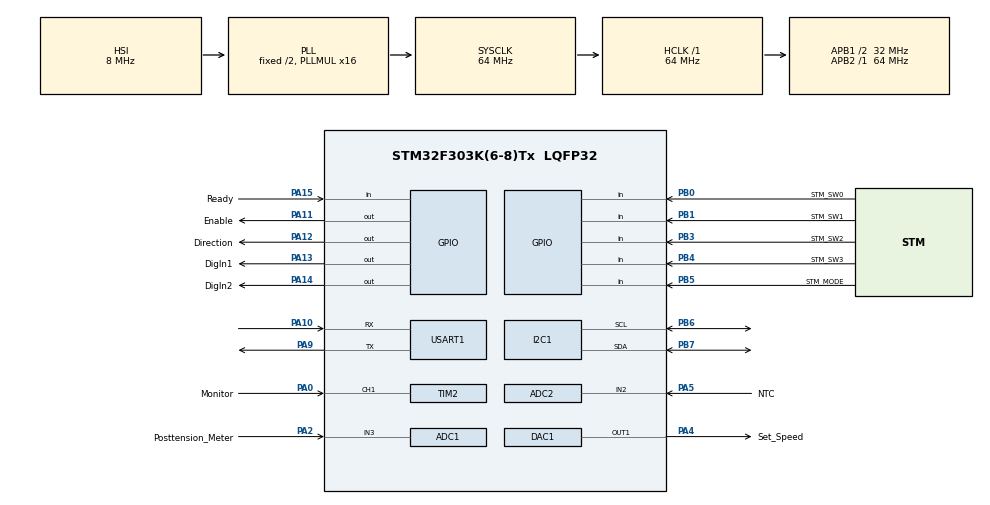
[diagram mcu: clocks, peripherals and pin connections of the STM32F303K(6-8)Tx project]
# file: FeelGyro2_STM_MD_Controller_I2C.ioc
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ADC1.Channel-0\#ChannelRegularConversion=ADC_CHANNEL_3
ADC1.DMAContinuousRequests=ENABLE
ADC1.NbrOfConversionFlag=1
ADC1.Offset-0\#ChannelRegularConversion=0
ADC1.OffsetNumber-0\#ChannelRegularConversion=ADC_OFFSET_NONE
ADC1.Rank-0\#ChannelRegularConversion=1
ADC1.SamplingTime-0\#ChannelRegularConversion=ADC_SAMPLETIME_601CYCLES_5
ADC1.SamplingTimeOPAMP-0\#ChannelRegularConversion=ADC_SAMPLETIME_4CYCLES_5
ADC1.SubFamily=STM32F303x8
ADC1.master=1
ADC2.Channel-1\#ChannelRegularConversion=ADC_CHANNEL_2
ADC2.ContinuousConvMode=DISABLE
ADC2.NbrOfConversionFlag=1
ADC2.Offset-1\#ChannelRegularConversion=0
ADC2.OffsetNumber-1\#ChannelRegularConversion=ADC_OFFSET_NONE
ADC2.Rank-1\#ChannelRegularConversion=1
ADC2.SamplingTime-1\#ChannelRegularConversion=ADC_SAMPLETIME_601CYCLES_5
ADC2.SamplingTimeOPAMP-1\#ChannelRegularConversion=ADC_SAMPLETIME_4CYCLES_5
ADC2.SubFamily=STM32F303x8
Dma.ADC1.0.Direction=DMA_PERIPH_TO_MEMORY
Dma.ADC1.0.Instance=DMA1_Channel1
Dma.ADC1.0.MemDataAlignment=DMA_MDATAALIGN_HALFWORD
Dma.ADC1.0.MemInc=DMA_MINC_ENABLE
Dma.ADC1.0.Mode=DMA_NORMAL
Dma.ADC1.0.PeriphDataAlignment=DMA_PDATAALIGN_HALFWORD
Dma.ADC1.0.PeriphInc=DMA_PINC_DISABLE
Dma.ADC1.0.Priority=DMA_PRIORITY_LOW
Dma.ADC2.5.Direction=DMA_PERIPH_TO_MEMORY
Dma.ADC2.5.Instance=DMA1_Channel2
Dma.ADC2.5.MemDataAlignment=DMA_MDATAALIGN_HALFWORD
Dma.ADC2.5.MemInc=DMA_MINC_ENABLE
Dma.ADC2.5.Mode=DMA_NORMAL
Dma.ADC2.5.PeriphDataAlignment=DMA_PDATAALIGN_HALFWORD
Dma.ADC2.5.PeriphInc=DMA_PINC_DISABLE
Dma.ADC2.5.Priority=DMA_PRIORITY_LOW
Dma.I2C1_RX.1.Direction=DMA_PERIPH_TO_MEMORY
Dma.I2C1_RX.1.Instance=DMA1_Channel3
Dma.I2C1_RX.1.MemDataAlignment=DMA_MDATAALIGN_BYTE
Dma.I2C1_RX.1.MemInc=DMA_MINC_ENABLE
Dma.I2C1_RX.1.Mode=DMA_NORMAL
Dma.I2C1_RX.1.PeriphDataAlignment=DMA_PDATAALIGN_BYTE
Dma.I2C1_RX.1.PeriphInc=DMA_PINC_DISABLE
Dma.I2C1_RX.1.Priority=DMA_PRIORITY_LOW
Dma.I2C1_TX.2.Direction=DMA_MEMORY_TO_PERIPH
Dma.I2C1_TX.2.Instance=DMA1_Channel6
Dma.I2C1_TX.2.MemDataAlignment=DMA_MDATAALIGN_BYTE
Dma.I2C1_TX.2.MemInc=DMA_MINC_ENABLE
Dma.I2C1_TX.2.Mode=DMA_NORMAL
Dma.I2C1_TX.2.PeriphDataAlignment=DMA_PDATAALIGN_BYTE
Dma.I2C1_TX.2.PeriphInc=DMA_PINC_DISABLE
Dma.I2C1_TX.2.Priority=DMA_PRIORITY_LOW
Dma.Request0=ADC1
Dma.Request1=I2C1_RX
Dma.Request2=I2C1_TX
Dma.Request3=USART1_RX
Dma.Request4=USART1_TX
Dma.Request5=ADC2
Dma.USART1_RX.3.Direction=DMA_PERIPH_TO_MEMORY
Dma.USART1_RX.3.Instance=DMA1_Channel5
Dma.USART1_RX.3.MemDataAlignment=DMA_MDATAALIGN_BYTE
Dma.USART1_RX.3.MemInc=DMA_MINC_ENABLE
Dma.USART1_RX.3.Mode=DMA_NORMAL
Dma.USART1_RX.3.PeriphDataAlignment=DMA_PDATAALIGN_BYTE
Dma.USART1_RX.3.PeriphInc=DMA_PINC_DISABLE
Dma.USART1_RX.3.Priority=DMA_PRIORITY_LOW
Dma.USART1_TX.4.Direction=DMA_MEMORY_TO_PERIPH
Dma.USART1_TX.4.Instance=DMA1_Channel4
Dma.USART1_TX.4.MemDataAlignment=DMA_MDATAALIGN_BYTE
Dma.USART1_TX.4.MemInc=DMA_MINC_ENABLE
Dma.USART1_TX.4.Mode=DMA_NORMAL
Dma.USART1_TX.4.PeriphDataAlignment=DMA_PDATAALIGN_BYTE
Dma.USART1_TX.4.PeriphInc=DMA_PINC_DISABLE
Dma.USART1_TX.4.Priority=DMA_PRIORITY_LOW
I2C1.OwnAddress=0x52
I2C1.Timing=0x00201D2B
Mcu.Family=STM32F3
Mcu.Name=STM32F303K(6-8)Tx
Mcu.Package=LQFP32
NVIC.DMA1_Channel1_IRQn=true\:0\:0\:false\:false\:true\:false\:true\:true
NVIC.DMA1_Channel2_IRQn=true\:0\:0\:false\:false\:true\:false\:true\:true
NVIC.DMA1_Channel3_IRQn=true\:0\:0\:false\:false\:true\:false\:true\:true
NVIC.DMA1_Channel4_IRQn=true\:0\:0\:false\:false\:true\:false\:true\:true
NVIC.DMA1_Channel5_IRQn=true\:0\:0\:false\:false\:true\:false\:true\:true
NVIC.DMA1_Channel6_IRQn=true\:0\:0\:false\:false\:true\:false\:true\:true
NVIC.PriorityGroup=NVIC_PRIORITYGROUP_4
PA0.GPIO_Label=Monitor
PA0.Signal=S_TIM2_CH1_ETR
PA10.Mode=Asynchronous
PA10.Signal=USART1_RX
PA11.GPIO_Label=Enable
PA11.Signal=GPIO_Output
PA12.GPIO_Label=Direction
PA12.Signal=GPIO_Output
PA13.GPIO_Label=DigIn1
PA13.Signal=GPIO_Output
PA14.GPIO_Label=DigIn2
PA14.Signal=GPIO_Output
PA15.GPIO_Label=Ready
PA15.Signal=GPIO_Input
PA2.GPIO_Label=Posttension_Meter
PA2.Mode=IN3-Single-Ended
PA2.Signal=ADC1_IN3
PA4.GPIO_Label=Set_Speed
PA4.Signal=COMP_DAC11_group
PA5.GPIO_Label=NTC
PA5.Mode=IN2-Single-Ended
PA5.Signal=ADC2_IN2
PA9.Mode=Asynchronous
PA9.Signal=USART1_TX
PB0.GPIO_Label=STM_SW0
PB0.GPIO_PuPd=GPIO_PULLUP
PB0.Signal=GPIO_Input
PB1.GPIO_Label=STM_SW1
PB1.GPIO_PuPd=GPIO_PULLUP
PB1.Signal=GPIO_Input
PB3.GPIO_Label=STM_SW2
PB3.GPIO_PuPd=GPIO_PULLUP
PB3.Signal=GPIO_Input
PB4.GPIO_Label=STM_SW3
PB4.GPIO_PuPd=GPIO_PULLUP
PB4.Signal=GPIO_Input
PB5.GPIO_Label=STM_MODE
PB5.GPIO_PuPd=GPIO_PULLUP
PB5.Signal=GPIO_Input
PB6.GPIO_Pu=GPIO_NOPULL
PB6.Mode=I2C
PB6.Signal=I2C1_SCL
PB7.GPIO_Pu=GPIO_NOPULL
PB7.Mode=I2C
PB7.Signal=I2C1_SDA
ProjectManager.HeapSize=0x200
ProjectManager.StackSize=0x400
ProjectManager.TargetToolchain=STM32CubeIDE
RCC.AHBFreq_Value=64000000
RCC.APB1CLKDivider=RCC_HCLK_DIV2
RCC.APB1Freq_Value=32000000
RCC.APB1TimFreq_Value=64000000
RCC.APB2Freq_Value=64000000
RCC.APB2TimFreq_Value=64000000
RCC.CortexFreq_Value=64000000
RCC.HCLKFreq_Value=64000000
RCC.HSE_VALUE=8000000
RCC.HSI_VALUE=8000000
RCC.PLLMUL=RCC_PLL_MUL16
RCC.SYSCLKFreq_VALUE=64000000
RCC.SYSCLKSourceVirtual=RCC_SYSCLKSOURCE_PLLCLK
SH.COMP_DAC11_group.0=DAC1_OUT1,DAC_OUT1
SH.S_TIM2_CH1_ETR.0=TIM2_CH1,PWM_Input_1
USART1.VirtualMode-Asynchronous=VM_ASYNC
board=custom

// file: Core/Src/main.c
/* USER CODE BEGIN Header */
/**
  ******************************************************************************
  * @file           : main.c
  * @brief          : Main program body
  ******************************************************************************
  * @attention
  *
  * Copyright (c) 2025 STMicroelectronics.
  * All rights reserved.
  *
  * This software is licensed under terms that can be found in the LICENSE file
  * in the root directory of this software component.
  * If no LICENSE file comes with this software, it is provided AS-IS.
  *
  ******************************************************************************
  */
/* USER CODE END Header */
#include "main.h"

/* USER CODE BEGIN Includes */
#include <stdio.h>
#include <math.h>
#include <string.h>
/* USER CODE END Includes */

/* USER CODE BEGIN PD */
#define MAX_DUTY 1.0f

/*---- NTC ----*/
#define ADC_MAX     4095.0f
#define VCC         3.3f
#define R_PULLUP    10000.0f      // プルアップ抵抗 10kΩ
#define R0_NTC      5000.0f       // 25°C時のNTC抵抗
#define BETA        3490.0f
#define T0_K        298.15f       // 25°C = 298.15K
/* USER CODE END PD */

ADC_HandleTypeDef hadc1;
ADC_HandleTypeDef hadc2;
DMA_HandleTypeDef hdma_adc1;
DMA_HandleTypeDef hdma_adc2;

DAC_HandleTypeDef hdac1;

I2C_HandleTypeDef hi2c1;
DMA_HandleTypeDef hdma_i2c1_rx;
DMA_HandleTypeDef hdma_i2c1_tx;

TIM_HandleTypeDef htim2;

UART_HandleTypeDef huart1;
DMA_HandleTypeDef hdma_usart1_rx;
DMA_HandleTypeDef hdma_usart1_tx;

/* USER CODE BEGIN PV */
uint8_t state = 0;
uint8_t txBuf[5];
uint8_t prevState = 0xFF;
GPIO_PinState enableVal = GPIO_PIN_RESET;
uint32_t MAX_SPEED = (uint32_t)(MAX_DUTY * 4095);

char     uart_data[64];
uint32_t uart_size;

static int decelStep = -1;        // -1: 減速中ではない、0～steps: 減速ステップ
const int steps     = 1000;       // 全ステップ数

int temp_c_int;
/* USER CODE END PV */

void SystemClock_Config(void);
static void MX_GPIO_Init(void);
static void MX_DMA_Init(void);
static void MX_I2C1_Init(void);
static void MX_ADC1_Init(void);
static void MX_ADC2_Init(void);
static void MX_DAC1_Init(void);
static void MX_TIM2_Init(void);
static void MX_USART1_UART_Init(void);

/* USER CODE BEGIN 0 */
float calc_temperature_from_adc(uint16_t adc_val){
    float v_ntc = (adc_val / ADC_MAX) * VCC;
    float r_ntc = (v_ntc * R_PULLUP) / (VCC - v_ntc);  // 分圧式からNTC抵抗を逆算

    float ln_ratio = logf(r_ntc / R0_NTC);
    float inv_temp = (1.0f / T0_K) + (ln_ratio / BETA);
    float temp_K = 1.0f / inv_temp;

    return temp_K - 273.15f;  // 摂氏に変換
}

void read_and_print_temperature(void){
    uint16_t adc_val = 0;

    HAL_ADC_Start(&hadc2);
    if (HAL_ADC_PollForConversion(&hadc2, HAL_MAX_DELAY) == HAL_OK) {
        adc_val = HAL_ADC_GetValue(&hadc2);
    }
    HAL_ADC_Stop(&hadc2);

    float temp_c = calc_temperature_from_adc(adc_val);
    temp_c_int = (int)(temp_c + 0.5f - 1.0f);  // 四捨五入して整数化　補正で1度引く

	uart_size = sprintf(uart_data, "Temperature: %d °C (ADC=%d)\r\n", temp_c_int, adc_val);
	HAL_UART_Transmit(&huart1, (uint8_t*)uart_data, uart_size, 10);
}
/* USER CODE END 0 */

int main(void)
{

  /* USER CODE BEGIN 1 */
	uint8_t dip_sw = 0;

	uint32_t frequency;
	uint32_t rpm;
	uint32_t tim2_count;
	uint32_t speed = MAX_SPEED;

	const int steps = 1000;
  /* USER CODE END 1 */

  /* MCU Configuration--------------------------------------------------------*/

  /* Reset of all peripherals, Initializes the Flash interface and the Systick. */
  HAL_Init();

  /* Configure the system clock */
  SystemClock_Config();

  /* Initialize all configured peripherals */
  MX_GPIO_Init();
  MX_DMA_Init();
  MX_I2C1_Init();
  MX_ADC1_Init();
  MX_ADC2_Init();
  MX_DAC1_Init();
  MX_TIM2_Init();
  MX_USART1_UART_Init();
  /* USER CODE BEGIN 2 */
  HAL_DAC_Start(&hdac1, DAC1_CHANNEL_1);
  HAL_ADC_Start(&hadc2);
  HAL_TIM_IC_Start(&htim2, TIM_CHANNEL_1);
  HAL_TIM_IC_Start(&htim2, TIM_CHANNEL_2);

  HAL_GPIO_WritePin(Enable_GPIO_Port, Enable_Pin, GPIO_PIN_RESET);
  HAL_GPIO_WritePin(DigIn1_GPIO_Port, DigIn1_Pin, GPIO_PIN_RESET );
  HAL_GPIO_WritePin(DigIn2_GPIO_Port, DigIn2_Pin, GPIO_PIN_RESET );

  dip_sw = HAL_GPIO_ReadPin(STM_SW3_GPIO_Port, STM_SW3_Pin) << 3 |
		   HAL_GPIO_ReadPin(STM_SW2_GPIO_Port, STM_SW2_Pin) << 2 |
		   HAL_GPIO_ReadPin(STM_SW1_GPIO_Port, STM_SW1_Pin) << 1 |
		   HAL_GPIO_ReadPin(STM_SW0_GPIO_Port, STM_SW0_Pin) << 0 ;

  if((dip_sw & 0x02) != HAL_OK){
	  HAL_GPIO_WritePin(Direction_GPIO_Port	, Direction_Pin	, GPIO_PIN_SET);
  }else{
	  HAL_GPIO_WritePin(Direction_GPIO_Port	, Direction_Pin	, GPIO_PIN_RESET);
  }

  setbuf(stdout, NULL);
  printf("I2C Slave Debug @0x55\n");
  /* USER CODE END 2 */

  /* Infinite loop */
  /* USER CODE BEGIN WHILE */
  while (1)
  {
	read_and_print_temperature();
	//１バイト受信
	HAL_I2C_Slave_Receive(&hi2c1, &state, 1, HAL_MAX_DELAY);
	//UART に受信状態を表示
	//uart_size = sprintf(uart_data, "Got state=%u\r\n", state);
	//HAL_UART_Transmit(&huart1, (uint8_t*)uart_data, uart_size, 10);

	//ControlState が変わったらデセル開始 or 即時処理 ---
	if (state != prevState) {
		if (state == 2 && prevState == 1) {
			// “全開→ブレーキ” になった瞬間だけ減速ステップを開始
			decelStep = 0;
		}
		else if (state == 1) {
			// 全開
			speed     = MAX_SPEED;
			enableVal = GPIO_PIN_SET;
			decelStep = -1;     // 減速モード解除
		}
		else if (state == 0) {
			// 停止
			speed     = MAX_SPEED;
			enableVal = GPIO_PIN_RESET;
			decelStep = -1;
		}
		else {
			// その他
			speed     = MAX_SPEED;
			enableVal = GPIO_PIN_RESET;
			decelStep = -1;
		}
		prevState = state;
	}

    //デセル中なら、１ステップだけ減速処理を実行 ---
    if (decelStep >= 0) {
        float x = (float)decelStep / steps;               // 0.0～1.0
        float y = powf(100.0f, -x) * 0.6f;                // 減速曲線
        speed  = (uint32_t)(y * MAX_SPEED);
        decelStep++;
        if (decelStep > steps) {
            // デセル完了
            decelStep = -1;
            speed     = 0;
            enableVal = GPIO_PIN_RESET;
        }
    }

    //DAC と Enable ピンに出力 ---
	HAL_DAC_SetValue(&hdac1, DAC1_CHANNEL_1, DAC_ALIGN_12B_R, speed);
	HAL_GPIO_WritePin(Enable_GPIO_Port, Enable_Pin, enableVal);

    //RPM 計算 ---
	tim2_count = __HAL_TIM_GET_COMPARE(&htim2,TIM_CHANNEL_1);
	frequency = 64000000 / tim2_count;
	rpm = frequency * 20 / 8;

	//RPM を 4 バイトに分解して I2C 送信 ---
	txBuf[0] =  rpm        & 0xFF;
	txBuf[1] = (rpm >>  8) & 0xFF;
	txBuf[2] = (rpm >> 16) & 0xFF;
	txBuf[3] = (rpm >> 24) & 0xFF;
	txBuf[4] = (uint8_t)temp_c_int;
	HAL_I2C_Slave_Transmit(&hi2c1, txBuf, 5, HAL_MAX_DELAY);

	HAL_Delay(30);
    /* USER CODE END WHILE */

  }
}

void SystemClock_Config(void)
{
  RCC_OscInitTypeDef RCC_OscInitStruct = {0};
  RCC_ClkInitTypeDef RCC_ClkInitStruct = {0};
  RCC_PeriphCLKInitTypeDef PeriphClkInit = {0};

  /** Initializes the RCC Oscillators according to the specified parameters
  * in the RCC_OscInitTypeDef structure.
  */
  RCC_OscInitStruct.OscillatorType = RCC_OSCILLATORTYPE_HSI;
  RCC_OscInitStruct.HSIState = RCC_HSI_ON;
  RCC_OscInitStruct.HSICalibrationValue = RCC_HSICALIBRATION_DEFAULT;
  RCC_OscInitStruct.PLL.PLLState = RCC_PLL_ON;
  RCC_OscInitStruct.PLL.PLLSource = RCC_PLLSOURCE_HSI;
  RCC_OscInitStruct.PLL.PLLMUL = RCC_PLL_MUL16;
  if (HAL_RCC_OscConfig(&RCC_OscInitStruct) != HAL_OK)
  {
    Error_Handler();
  }

  /** Initializes the CPU, AHB and APB buses clocks
  */
  RCC_ClkInitStruct.ClockType = RCC_CLOCKTYPE_HCLK|RCC_CLOCKTYPE_SYSCLK
                              |RCC_CLOCKTYPE_PCLK1|RCC_CLOCKTYPE_PCLK2;
  RCC_ClkInitStruct.SYSCLKSource = RCC_SYSCLKSOURCE_PLLCLK;
  RCC_ClkInitStruct.AHBCLKDivider = RCC_SYSCLK_DIV1;
  RCC_ClkInitStruct.APB1CLKDivider = RCC_HCLK_DIV2;
  RCC_ClkInitStruct.APB2CLKDivider = RCC_HCLK_DIV1;

  if (HAL_RCC_ClockConfig(&RCC_ClkInitStruct, FLASH_LATENCY_2) != HAL_OK)
  {
    Error_Handler();
  }
  PeriphClkInit.PeriphClockSelection = RCC_PERIPHCLK_USART1|RCC_PERIPHCLK_I2C1
                              |RCC_PERIPHCLK_ADC12;
  PeriphClkInit.Usart1ClockSelection = RCC_USART1CLKSOURCE_PCLK1;
  PeriphClkInit.Adc12ClockSelection = RCC_ADC12PLLCLK_DIV1;
  PeriphClkInit.I2c1ClockSelection = RCC_I2C1CLKSOURCE_HSI;
  if (HAL_RCCEx_PeriphCLKConfig(&PeriphClkInit) != HAL_OK)
  {
    Error_Handler();
  }
}

static void MX_ADC1_Init(void)
{

  ADC_MultiModeTypeDef multimode = {0};
  ADC_ChannelConfTypeDef sConfig = {0};

  /** Common config
  */
  hadc1.Instance = ADC1;
  hadc1.Init.ClockPrescaler = ADC_CLOCK_ASYNC_DIV1;
  hadc1.Init.Resolution = ADC_RESOLUTION_12B;
  hadc1.Init.ScanConvMode = ADC_SCAN_DISABLE;
  hadc1.Init.ContinuousConvMode = DISABLE;
  hadc1.Init.DiscontinuousConvMode = DISABLE;
  hadc1.Init.ExternalTrigConvEdge = ADC_EXTERNALTRIGCONVEDGE_NONE;
  hadc1.Init.ExternalTrigConv = ADC_SOFTWARE_START;
  hadc1.Init.DataAlign = ADC_DATAALIGN_RIGHT;
  hadc1.Init.NbrOfConversion = 1;
  hadc1.Init.DMAContinuousRequests = ENABLE;
  hadc1.Init.EOCSelection = ADC_EOC_SINGLE_CONV;
  hadc1.Init.LowPowerAutoWait = DISABLE;
  hadc1.Init.Overrun = ADC_OVR_DATA_OVERWRITTEN;
  if (HAL_ADC_Init(&hadc1) != HAL_OK)
  {
    Error_Handler();
  }

  /** Configure the ADC multi-mode
  */
  multimode.Mode = ADC_MODE_INDEPENDENT;
  if (HAL_ADCEx_MultiModeConfigChannel(&hadc1, &multimode) != HAL_OK)
  {
    Error_Handler();
  }

  /** Configure Regular Channel
  */
  sConfig.Channel = ADC_CHANNEL_3;
  sConfig.Rank = ADC_REGULAR_RANK_1;
  sConfig.SingleDiff = ADC_SINGLE_ENDED;
  sConfig.SamplingTime = ADC_SAMPLETIME_601CYCLES_5;
  sConfig.OffsetNumber = ADC_OFFSET_NONE;
  sConfig.Offset = 0;
  if (HAL_ADC_ConfigChannel(&hadc1, &sConfig) != HAL_OK)
  {
    Error_Handler();
  }

}

static void MX_ADC2_Init(void)
{

  ADC_ChannelConfTypeDef sConfig = {0};

  /** Common config
  */
  hadc2.Instance = ADC2;
  hadc2.Init.ClockPrescaler = ADC_CLOCK_ASYNC_DIV1;
  hadc2.Init.Resolution = ADC_RESOLUTION_12B;
  hadc2.Init.ScanConvMode = ADC_SCAN_DISABLE;
  hadc2.Init.ContinuousConvMode = DISABLE;
  hadc2.Init.DiscontinuousConvMode = DISABLE;
  hadc2.Init.ExternalTrigConvEdge = ADC_EXTERNALTRIGCONVEDGE_NONE;
  hadc2.Init.ExternalTrigConv = ADC_SOFTWARE_START;
  hadc2.Init.DataAlign = ADC_DATAALIGN_RIGHT;
  hadc2.Init.NbrOfConversion = 1;
  hadc2.Init.DMAContinuousRequests = DISABLE;
  hadc2.Init.EOCSelection = ADC_EOC_SINGLE_CONV;
  hadc2.Init.LowPowerAutoWait = DISABLE;
  hadc2.Init.Overrun = ADC_OVR_DATA_OVERWRITTEN;
  if (HAL_ADC_Init(&hadc2) != HAL_OK)
  {
    Error_Handler();
  }

  /** Configure Regular Channel
  */
  sConfig.Channel = ADC_CHANNEL_2;
  sConfig.Rank = ADC_REGULAR_RANK_1;
  sConfig.SingleDiff = ADC_SINGLE_ENDED;
  sConfig.SamplingTime = ADC_SAMPLETIME_601CYCLES_5;
  sConfig.OffsetNumber = ADC_OFFSET_NONE;
  sConfig.Offset = 0;
  if (HAL_ADC_ConfigChannel(&hadc2, &sConfig) != HAL_OK)
  {
    Error_Handler();
  }

}

static void MX_DAC1_Init(void)
{

  DAC_ChannelConfTypeDef sConfig = {0};

  /** DAC Initialization
  */
  hdac1.Instance = DAC1;
  if (HAL_DAC_Init(&hdac1) != HAL_OK)
  {
    Error_Handler();
  }

  /** DAC channel OUT1 config
  */
  sConfig.DAC_Trigger = DAC_TRIGGER_NONE;
  sConfig.DAC_OutputBuffer = DAC_OUTPUTBUFFER_ENABLE;
  if (HAL_DAC_ConfigChannel(&hdac1, &sConfig, DAC_CHANNEL_1) != HAL_OK)
  {
    Error_Handler();
  }

}

static void MX_I2C1_Init(void)
{

  hi2c1.Instance = I2C1;
  hi2c1.Init.Timing = 0x00201D2B;
  hi2c1.Init.OwnAddress1 = (0x55 << 1);
  hi2c1.Init.AddressingMode = I2C_ADDRESSINGMODE_7BIT;
  hi2c1.Init.DualAddressMode = I2C_DUALADDRESS_DISABLE;
  hi2c1.Init.OwnAddress2 = 0;
  hi2c1.Init.OwnAddress2Masks = I2C_OA2_NOMASK;
  hi2c1.Init.GeneralCallMode = I2C_GENERALCALL_DISABLE;
  hi2c1.Init.NoStretchMode = I2C_NOSTRETCH_DISABLE;
  if (HAL_I2C_Init(&hi2c1) != HAL_OK)
  {
    Error_Handler();
  }

  /** Configure Analogue filter
  */
  if (HAL_I2CEx_ConfigAnalogFilter(&hi2c1, I2C_ANALOGFILTER_ENABLE) != HAL_OK)
  {
    Error_Handler();
  }

  /** Configure Digital filter
  */
  if (HAL_I2CEx_ConfigDigitalFilter(&hi2c1, 0) != HAL_OK)
  {
    Error_Handler();
  }

}

static void MX_TIM2_Init(void)
{

  TIM_SlaveConfigTypeDef sSlaveConfig = {0};
  TIM_IC_InitTypeDef sConfigIC = {0};
  TIM_MasterConfigTypeDef sMasterConfig = {0};

  htim2.Instance = TIM2;
  htim2.Init.Prescaler = 0;
  htim2.Init.CounterMode = TIM_COUNTERMODE_UP;
  htim2.Init.Period = 4294967295;
  htim2.Init.ClockDivision = TIM_CLOCKDIVISION_DIV1;
  htim2.Init.AutoReloadPreload = TIM_AUTORELOAD_PRELOAD_DISABLE;
  if (HAL_TIM_IC_Init(&htim2) != HAL_OK)
  {
    Error_Handler();
  }
  sSlaveConfig.SlaveMode = TIM_SLAVEMODE_RESET;
  sSlaveConfig.InputTrigger = TIM_TS_TI1FP1;
  sSlaveConfig.TriggerPolarity = TIM_INPUTCHANNELPOLARITY_RISING;
  sSlaveConfig.TriggerPrescaler = TIM_ICPSC_DIV1;
  sSlaveConfig.TriggerFilter = 0;
  if (HAL_TIM_SlaveConfigSynchro(&htim2, &sSlaveConfig) != HAL_OK)
  {
    Error_Handler();
  }
  sConfigIC.ICPolarity = TIM_INPUTCHANNELPOLARITY_RISING;
  sConfigIC.ICSelection = TIM_ICSELECTION_DIRECTTI;
  sConfigIC.ICPrescaler = TIM_ICPSC_DIV1;
  sConfigIC.ICFilter = 0;
  if (HAL_TIM_IC_ConfigChannel(&htim2, &sConfigIC, TIM_CHANNEL_1) != HAL_OK)
  {
    Error_Handler();
  }
  sConfigIC.ICPolarity = TIM_INPUTCHANNELPOLARITY_FALLING;
  sConfigIC.ICSelection = TIM_ICSELECTION_INDIRECTTI;
  if (HAL_TIM_IC_ConfigChannel(&htim2, &sConfigIC, TIM_CHANNEL_2) != HAL_OK)
  {
    Error_Handler();
  }
  sMasterConfig.MasterOutputTrigger = TIM_TRGO_RESET;
  sMasterConfig.MasterSlaveMode = TIM_MASTERSLAVEMODE_DISABLE;
  if (HAL_TIMEx_MasterConfigSynchronization(&htim2, &sMasterConfig) != HAL_OK)
  {
    Error_Handler();
  }

}

static void MX_USART1_UART_Init(void)
{

  huart1.Instance = USART1;
  huart1.Init.BaudRate = 38400;
  huart1.Init.WordLength = UART_WORDLENGTH_8B;
  huart1.Init.StopBits = UART_STOPBITS_1;
  huart1.Init.Parity = UART_PARITY_NONE;
  huart1.Init.Mode = UART_MODE_TX_RX;
  huart1.Init.HwFlowCtl = UART_HWCONTROL_NONE;
  huart1.Init.OverSampling = UART_OVERSAMPLING_16;
  huart1.Init.OneBitSampling = UART_ONE_BIT_SAMPLE_DISABLE;
  huart1.AdvancedInit.AdvFeatureInit = UART_ADVFEATURE_NO_INIT;
  if (HAL_UART_Init(&huart1) != HAL_OK)
  {
    Error_Handler();
  }

}

static void MX_DMA_Init(void)
{

  /* DMA controller clock enable */
  __HAL_RCC_DMA1_CLK_ENABLE();

  /* DMA interrupt init */
  /* DMA1_Channel1_IRQn interrupt configuration */
  HAL_NVIC_SetPriority(DMA1_Channel1_IRQn, 0, 0);
  HAL_NVIC_EnableIRQ(DMA1_Channel1_IRQn);
  /* DMA1_Channel2_IRQn interrupt configuration */
  HAL_NVIC_SetPriority(DMA1_Channel2_IRQn, 0, 0);
  HAL_NVIC_EnableIRQ(DMA1_Channel2_IRQn);
  /* DMA1_Channel3_IRQn interrupt configuration */
  HAL_NVIC_SetPriority(DMA1_Channel3_IRQn, 0, 0);
  HAL_NVIC_EnableIRQ(DMA1_Channel3_IRQn);
  /* DMA1_Channel4_IRQn interrupt configuration */
  HAL_NVIC_SetPriority(DMA1_Channel4_IRQn, 0, 0);
  HAL_NVIC_EnableIRQ(DMA1_Channel4_IRQn);
  /* DMA1_Channel5_IRQn interrupt configuration */
  HAL_NVIC_SetPriority(DMA1_Channel5_IRQn, 0, 0);
  HAL_NVIC_EnableIRQ(DMA1_Channel5_IRQn);
  /* DMA1_Channel6_IRQn interrupt configuration */
  HAL_NVIC_SetPriority(DMA1_Channel6_IRQn, 0, 0);
  HAL_NVIC_EnableIRQ(DMA1_Channel6_IRQn);

}

static void MX_GPIO_Init(void)
{
  GPIO_InitTypeDef GPIO_InitStruct = {0};

  /* GPIO Ports Clock Enable */
  __HAL_RCC_GPIOA_CLK_ENABLE();
  __HAL_RCC_GPIOB_CLK_ENABLE();

  /*Configure GPIO pin Output Level */
  HAL_GPIO_WritePin(GPIOA, Enable_Pin|Direction_Pin|DigIn1_Pin|DigIn2_Pin, GPIO_PIN_RESET);

  /*Configure GPIO pins : STM_SW0_Pin STM_SW1_Pin STM_SW2_Pin STM_SW3_Pin
                           STM_MODE_Pin */
  GPIO_InitStruct.Pin = STM_SW0_Pin|STM_SW1_Pin|STM_SW2_Pin|STM_SW3_Pin
                          |STM_MODE_Pin;
  GPIO_InitStruct.Mode = GPIO_MODE_INPUT;
  GPIO_InitStruct.Pull = GPIO_PULLUP;
  HAL_GPIO_Init(GPIOB, &GPIO_InitStruct);

  /*Configure GPIO pins : Enable_Pin Direction_Pin DigIn1_Pin DigIn2_Pin */
  GPIO_InitStruct.Pin = Enable_Pin|Direction_Pin|DigIn1_Pin|DigIn2_Pin;
  GPIO_InitStruct.Mode = GPIO_MODE_OUTPUT_PP;
  GPIO_InitStruct.Pull = GPIO_NOPULL;
  GPIO_InitStruct.Speed = GPIO_SPEED_FREQ_LOW;
  HAL_GPIO_Init(GPIOA, &GPIO_InitStruct);

  /*Configure GPIO pin : Ready_Pin */
  GPIO_InitStruct.Pin = Ready_Pin;
  GPIO_InitStruct.Mode = GPIO_MODE_INPUT;
  GPIO_InitStruct.Pull = GPIO_NOPULL;
  HAL_GPIO_Init(Ready_GPIO_Port, &GPIO_InitStruct);

}

void Error_Handler(void)
{
  __disable_irq();
  while (1)
  {
  }
}
